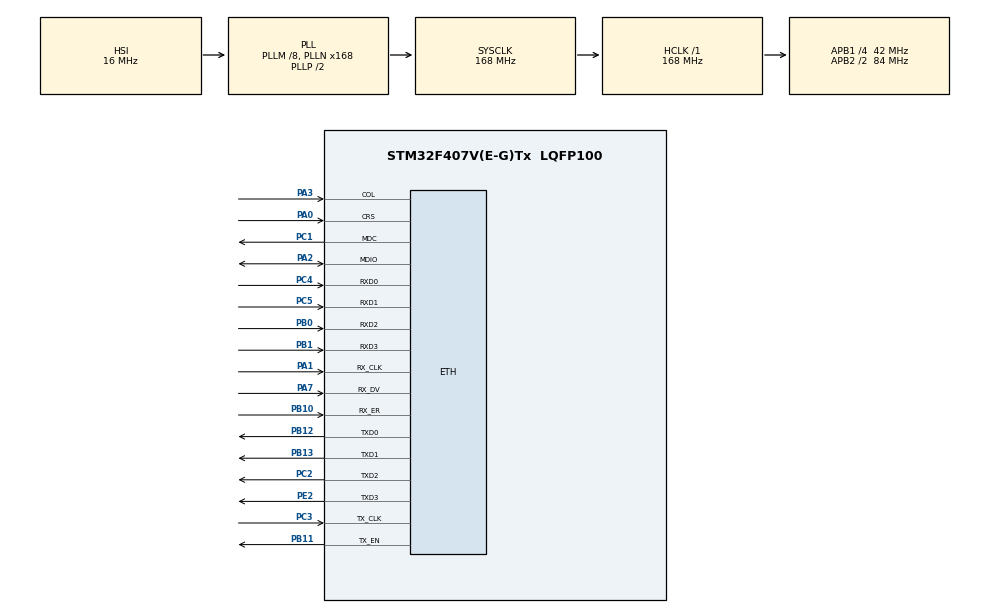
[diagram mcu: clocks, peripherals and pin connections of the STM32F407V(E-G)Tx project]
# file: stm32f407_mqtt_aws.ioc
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ETH.MediaInterface=HAL_ETH_MII_MODE
FREERTOS.INCLUDE_pcTaskGetTaskName=1
FREERTOS.INCLUDE_xTaskGetCurrentTaskHandle=1
FREERTOS.Tasks01=defaultTask,0,128,StartDefaultTask,Default,NULL,Dynamic,NULL,NULL
FREERTOS.configCHECK_FOR_STACK_OVERFLOW=0
LWIP.BSP.number=1
LWIP.Version=v2.1.2_Cube
LWIP0.BSP.STBoard=false
LWIP0.BSP.api=BSP_COMPONENT_DRIVER
LWIP0.BSP.component=DP83848
LWIP0.BSP.instance=DP83848
LWIP0.BSP.name=Driver_PHY
LWIP0.BSP.semaphore=S_DP83848
LWIP0.BSP.solution=DP83848
MBEDTLS.MBEDTLS_ECP_DP_CURVE448_ENABLED=0
MBEDTLS.MBEDTLS_ECP_DP_SECP384R1_ENABLED=0
MBEDTLS.MBEDTLS_MPI_MAX_SIZE=256
MBEDTLS.MBEDTLS_RNG_IP=SW_RNG
Mcu.Family=STM32F4
Mcu.Name=STM32F407V(E-G)Tx
Mcu.Package=LQFP100
NVIC.ETH_IRQn=true\:5\:0\:false\:false\:true\:true\:true\:true\:true
NVIC.ETH_WKUP_IRQn=true\:5\:0\:false\:false\:true\:true\:true\:true\:true
NVIC.PriorityGroup=NVIC_PRIORITYGROUP_4
NVIC.TIM6_DAC_IRQn=true\:15\:0\:false\:false\:true\:false\:false\:true\:true
NVIC.TimeBase=TIM6_DAC_IRQn
NVIC.TimeBaseIP=TIM6
PA0-WKUP.Mode=MII
PA0-WKUP.Signal=ETH_CRS
PA1.Mode=MII
PA1.Signal=ETH_RX_CLK
PA13.Mode=Serial_Wire
PA13.Signal=SYS_JTMS-SWDIO
PA14.Mode=Serial_Wire
PA14.Signal=SYS_JTCK-SWCLK
PA2.Mode=MII
PA2.Signal=ETH_MDIO
PA3.Mode=MII
PA3.Signal=ETH_COL
PA7.Mode=MII
PA7.Signal=ETH_RX_DV
PB0.Mode=MII
PB0.Signal=ETH_RXD2
PB1.Mode=MII
PB1.Signal=ETH_RXD3
PB10.Mode=Activate Rx Err signal
PB10.Signal=ETH_RX_ER
PB11.Mode=MII
PB11.Signal=ETH_TX_EN
PB12.Mode=MII
PB12.Signal=ETH_TXD0
PB13.Mode=MII
PB13.Signal=ETH_TXD1
PC1.Mode=MII
PC1.Signal=ETH_MDC
PC2.Mode=MII
PC2.Signal=ETH_TXD2
PC3.Mode=MII
PC3.Signal=ETH_TX_CLK
PC4.Mode=MII
PC4.Signal=ETH_RXD0
PC5.Mode=MII
PC5.Signal=ETH_RXD1
PE2.Mode=MII
PE2.Signal=ETH_TXD3
PH0-OSC_IN.Mode=HSE-External-Oscillator
PH0-OSC_IN.Signal=RCC_OSC_IN
PH1-OSC_OUT.Mode=HSE-External-Oscillator
PH1-OSC_OUT.Signal=RCC_OSC_OUT
ProjectManager.HeapSize=0x2000
ProjectManager.StackSize=0x4000
ProjectManager.TargetToolchain=STM32CubeIDE
RCC.48MHZClocksFreq_Value=84000000
RCC.AHBFreq_Value=168000000
RCC.APB1CLKDivider=RCC_HCLK_DIV4
RCC.APB1Freq_Value=42000000
RCC.APB1TimFreq_Value=84000000
RCC.APB2CLKDivider=RCC_HCLK_DIV2
RCC.APB2Freq_Value=84000000
RCC.APB2TimFreq_Value=168000000
RCC.CortexFreq_Value=168000000
RCC.HCLKFreq_Value=168000000
RCC.HSE_VALUE=25000000
RCC.HSI_VALUE=16000000
RCC.LSE_VALUE=32768
RCC.PLLM=8
RCC.PLLN=168
RCC.SYSCLKFreq_VALUE=168000000
RCC.SYSCLKSource=RCC_SYSCLKSOURCE_PLLCLK
RCC.VCOOutputFreq_Value=336000000
VP_FREERTOS_VS_CMSIS_V1.Mode=CMSIS_V1
VP_LWIP_VS_Enabled.Mode=Enabled
VP_MBEDTLS_VS_MBEDTLS.Mode=Enabled
VP_SYS_VS_tim6.Mode=TIM6
board=custom

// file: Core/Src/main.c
/* USER CODE BEGIN Header */
/**
  ******************************************************************************
  * @file           : main.c
  * @brief          : Main program body
  ******************************************************************************
  * @attention
  *
  * Copyright (c) 2024 STMicroelectronics.
  * All rights reserved.
  *
  * This software is licensed under terms that can be found in the LICENSE file
  * in the root directory of this software component.
  * If no LICENSE file comes with this software, it is provided AS-IS.
  *
  ******************************************************************************
  */
/* USER CODE END Header */
#include "main.h"
#include "cmsis_os.h"
#include "mbedtls.h"

void SystemClock_Config(void);
static void MX_GPIO_Init(void);

/* USER CODE BEGIN 0 */
extern void MX_FREERTOS_Init();
/* USER CODE END 0 */

int main(void)
{

  /* MCU Configuration--------------------------------------------------------*/

  /* Reset of all peripherals, Initializes the Flash interface and the Systick. */
  HAL_Init();

  /* Configure the system clock */
  SystemClock_Config();

  /* Initialize all configured peripherals */
  MX_GPIO_Init();
  /* USER CODE BEGIN 2 */
  MX_FREERTOS_Init();
  /* USER CODE END 2 */

  /* Create the thread(s) */
  /* definition and creation of defaultTask */

  /* Start scheduler */
  osKernelStart();

  /* We should never get here as control is now taken by the scheduler */
  /* Infinite loop */
  while (1)
  {

  }
}

void SystemClock_Config(void)
{
  RCC_OscInitTypeDef RCC_OscInitStruct = {0};
  RCC_ClkInitTypeDef RCC_ClkInitStruct = {0};

  /** Configure the main internal regulator output voltage
  */
  __HAL_RCC_PWR_CLK_ENABLE();
  __HAL_PWR_VOLTAGESCALING_CONFIG(PWR_REGULATOR_VOLTAGE_SCALE1);

  /** Initializes the RCC Oscillators according to the specified parameters
  * in the RCC_OscInitTypeDef structure.
  */
  RCC_OscInitStruct.OscillatorType = RCC_OSCILLATORTYPE_HSI;
  RCC_OscInitStruct.HSIState = RCC_HSI_ON;
  RCC_OscInitStruct.HSICalibrationValue = RCC_HSICALIBRATION_DEFAULT;
  RCC_OscInitStruct.PLL.PLLState = RCC_PLL_ON;
  RCC_OscInitStruct.PLL.PLLSource = RCC_PLLSOURCE_HSI;
  RCC_OscInitStruct.PLL.PLLM = 8;
  RCC_OscInitStruct.PLL.PLLN = 168;
  RCC_OscInitStruct.PLL.PLLP = RCC_PLLP_DIV2;
  RCC_OscInitStruct.PLL.PLLQ = 4;
  if (HAL_RCC_OscConfig(&RCC_OscInitStruct) != HAL_OK)
  {
    Error_Handler();
  }

  /** Initializes the CPU, AHB and APB buses clocks
  */
  RCC_ClkInitStruct.ClockType = RCC_CLOCKTYPE_HCLK|RCC_CLOCKTYPE_SYSCLK
                              |RCC_CLOCKTYPE_PCLK1|RCC_CLOCKTYPE_PCLK2;
  RCC_ClkInitStruct.SYSCLKSource = RCC_SYSCLKSOURCE_PLLCLK;
  RCC_ClkInitStruct.AHBCLKDivider = RCC_SYSCLK_DIV1;
  RCC_ClkInitStruct.APB1CLKDivider = RCC_HCLK_DIV4;
  RCC_ClkInitStruct.APB2CLKDivider = RCC_HCLK_DIV2;

  if (HAL_RCC_ClockConfig(&RCC_ClkInitStruct, FLASH_LATENCY_5) != HAL_OK)
  {
    Error_Handler();
  }
}

static void MX_GPIO_Init(void)
{

  /* GPIO Ports Clock Enable */
  __HAL_RCC_GPIOE_CLK_ENABLE();
  __HAL_RCC_GPIOH_CLK_ENABLE();
  __HAL_RCC_GPIOC_CLK_ENABLE();
  __HAL_RCC_GPIOA_CLK_ENABLE();
  __HAL_RCC_GPIOB_CLK_ENABLE();

}

void HAL_TIM_PeriodElapsedCallback(TIM_HandleTypeDef *htim)
{
  if (htim->Instance == TIM6) {
    HAL_IncTick();
  }
}

void Error_Handler(void)
{
  __disable_irq();
  while (1)
  {
  }
}

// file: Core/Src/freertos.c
/* USER CODE BEGIN Header */
/**
  ******************************************************************************
  * File Name          : freertos.c
  * Description        : Code for freertos applications
  ******************************************************************************
  * @attention
  *
  * Copyright (c) 2024 STMicroelectronics.
  * All rights reserved.
  *
  * This software is licensed under terms that can be found in the LICENSE file
  * in the root directory of this software component.
  * If no LICENSE file comes with this software, it is provided AS-IS.
  *
  ******************************************************************************
  */
/* USER CODE END Header */

#include "FreeRTOS.h"
#include "task.h"
#include "main.h"

/* USER CODE BEGIN Includes */
#include "lwip.h"
#include "lwip/api.h"
#include "mqtt_task.h"
/* USER CODE END Includes */

/* USER CODE BEGIN Variables */
extern struct netif gnetif;

osThreadId mqttClientSubTaskHandle;
osThreadId mqttClientPubTaskHandle;

osThreadId defaultTaskHandle;

/* USER CODE END Variables */

/* USER CODE BEGIN FunctionPrototypes */

void StartDefaultTask(void const *argument);

/* USER CODE END FunctionPrototypes */

/* GetIdleTaskMemory prototype (linked to static allocation support) */
void vApplicationGetIdleTaskMemory( StaticTask_t **ppxIdleTaskTCBBuffer, StackType_t **ppxIdleTaskStackBuffer, uint32_t *pulIdleTaskStackSize );

/* USER CODE BEGIN GET_IDLE_TASK_MEMORY */
static StaticTask_t xIdleTaskTCBBuffer;
static StackType_t xIdleStack[configMINIMAL_STACK_SIZE];

void vApplicationGetIdleTaskMemory( StaticTask_t **ppxIdleTaskTCBBuffer, StackType_t **ppxIdleTaskStackBuffer, uint32_t *pulIdleTaskStackSize )
{
  *ppxIdleTaskTCBBuffer = &xIdleTaskTCBBuffer;
  *ppxIdleTaskStackBuffer = &xIdleStack[0];
  *pulIdleTaskStackSize = configMINIMAL_STACK_SIZE;
  /* place for user code */
}
/* USER CODE END GET_IDLE_TASK_MEMORY */

/* USER CODE BEGIN Application */
void MX_FREERTOS_Init()
{
	osThreadDef(defaultTask, StartDefaultTask, osPriorityNormal, 0, 256);
	defaultTaskHandle = osThreadCreate(osThread(defaultTask), NULL);
}

void StartDefaultTask(void const * argument)
{
	/* USER CODE BEGIN StartDefaultTask */
	MX_LWIP_Init();

	while(1)
	{
		//waiting for valid ip address
		if (gnetif.ip_addr.addr == 0 || gnetif.netmask.addr == 0 || gnetif.gw.addr == 0) //system has no valid ip address
		{
			osDelay(1000);
			continue;
		}
		else
		{
//			printf("DHCP/Static IP O.K.\n");
			break;
		}
	}
	/*
	 * !!! Important
	 * I don't know but mqttClientPubTask failed without compiler optimization option
	 */
	osThreadDef(mqttClientSubTask, MqttClientSubTask, osPriorityNormal, 0, 1024); //subscribe task
	mqttClientSubTaskHandle = osThreadCreate(osThread(mqttClientSubTask), NULL);
	osThreadDef(mqttClientPubTask, MqttClientPubTask, osPriorityNormal, 0, 1024); //publish task
	mqttClientPubTaskHandle = osThreadCreate(osThread(mqttClientPubTask), NULL);

	/* Infinite loop */
	for(;;)
	{
//		HAL_GPIO_TogglePin(LED_GREEN_GPIO_Port, LED_GREEN_Pin); //toggle running led
		osDelay(500);
	}
	/* USER CODE END StartDefaultTask */
}

/* USER CODE END Application */
